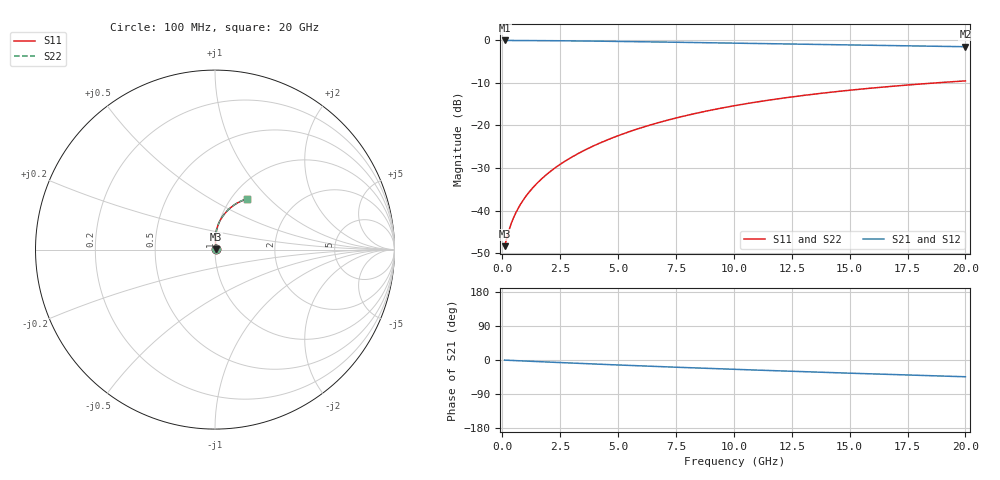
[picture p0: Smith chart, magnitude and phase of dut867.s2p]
! Touchstone file exported from HFSS 2024.1.0
!  File:  C:/UserFiles/LocalFiles/RDL_TSV_Batchsim/temp_RDL_top_867_1779856270.aedt
!  Generated:  12:33:23 PM May 27, 2026
!  Design:  RDL_top
!  Project:  temp_RDL_top_867_1779856270
!  Setup:  Setup1
!  Solution:  Sweep
! Variables:
!  dtsv = 10.80580581um
!  hbump = 3um
!  htsv = 99.41um
!  ldown = 100um
!  lrdl = 641.79um
!  p = 40
!  p1 = 52.17um
!  rhole = 1um
!  t = 450um
!  tdown = 3.915915916um
!  trdl = 2.56um
!  wdown = 15.38538539um
!  wrdl = 28.28um
# GHz S MA R 50.000000
! Terminal data exported
! Port[1] = Box2_T1
! Port[2] = Box2_T2
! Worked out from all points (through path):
!   200 points, 100 MHz to 20 GHz, reference 50 ohm
!   highest |S21| = -0.03 dB at 100 MHz (marker M1); lowest = -1.5 dB at 20 GHz (marker M2)
!   group delay of S21, straight-line fit = 6.07 ps
!   lowest |S11| = -48.3 dB at 100 MHz (marker M3), VSWR 1.01, Z = 50.3 + j0.165 ohm
!   |S11| at or under -10 dB: start of sweep to 18.7 GHz
!   |S22| runs from -48.3 to -9.5 dB; largest |S21 - S12| = 1.1e-14
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0.1  0.003829 25.4  0.9965 -0.3  0.9965 -0.3  0.003829 25.4
! Gamma 0 0 0 0
! Port Impedance 50 0 50 0
0.3  0.006024 50.5  0.996 -0.9  0.996 -0.9  0.006023 50.5
0.4  0.007231 56.4  0.9958 -1.1  0.9958 -1.1  0.007231 56.4
0.5  0.00843 60.6  0.9955 -1.4  0.9955 -1.4  0.00843 60.6
0.6  0.009627 64.0  0.9952 -1.7  0.9952 -1.7  0.009626 64.0
0.8  0.01204 69.1  0.9947 -2.2  0.9947 -2.2  0.01204 69.1
1  0.01451 72.8  0.9942 -2.8  0.9942 -2.8  0.01451 72.8
1.2  0.01705 75.7  0.9937 -3.3  0.9937 -3.3  0.01705 75.7
1.7  0.02367 80.5  0.992 -4.6  0.992 -4.6  0.02367 80.5
2.2  0.03064 83.5  0.9898 -6.0  0.9898 -6.0  0.03065 83.5
2.8  0.03948 85.7  0.9867 -7.6  0.9867 -7.6  0.03949 85.7
3.5  0.05042 87.1  0.9823 -9.4  0.9823 -9.4  0.05043 87.1
4.2  0.06199 87.7  0.9773 -11.2  0.9773 -11.2  0.06202 87.7
5  0.07589 87.6  0.9711 -13.1  0.9711 -13.1  0.07594 87.7
5.9  0.09223 86.9  0.9636 -15.3  0.9636 -15.3  0.0923 86.9
6.8  0.1091 85.7  0.9558 -17.4  0.9558 -17.4  0.1092 85.7
8.4  0.1397 82.8  0.9415 -21.1  0.9415 -21.1  0.1398 82.8
10.1  0.1721 79.2  0.9262 -24.8  0.9262 -24.8  0.1723 79.2
11.7  0.2019 75.6  0.912 -28.1  0.912 -28.1  0.2022 75.7
13.4  0.2323 71.8  0.897 -31.6  0.897 -31.6  0.2326 71.8
16.7  0.2866 64.5  0.8687 -38.1  0.8687 -38.1  0.287 64.6
20  0.334 57.7  0.8414 -44.2  0.8414 -44.2  0.3345 57.8
